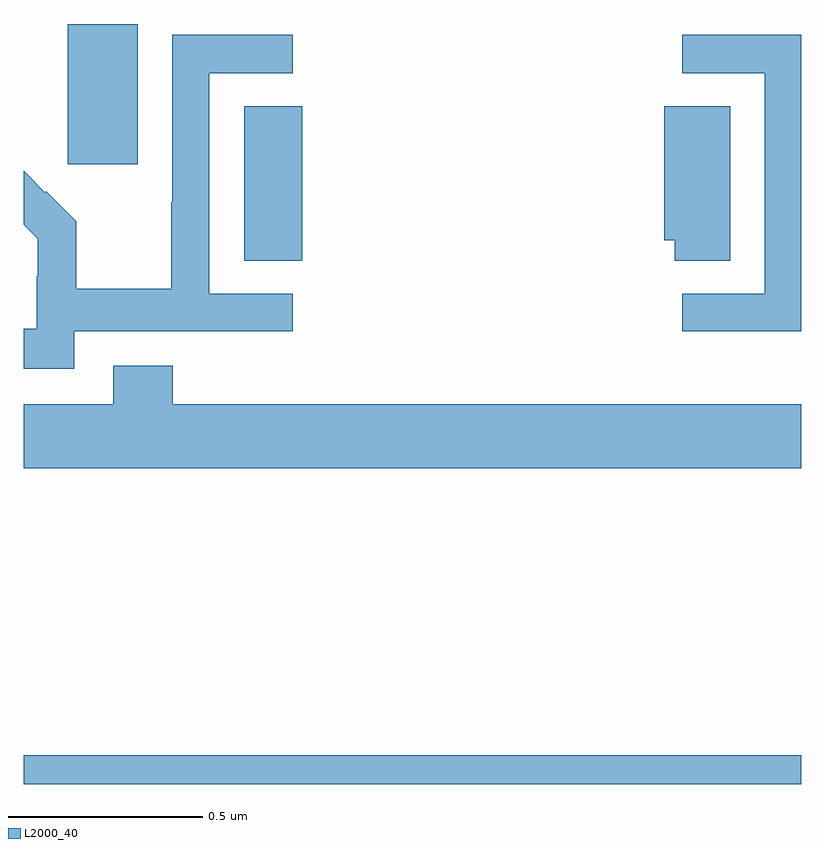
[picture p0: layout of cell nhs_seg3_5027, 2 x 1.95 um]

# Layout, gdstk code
import gdstk
lib = gdstk.Library(unit=1e-6, precision=1e-09)
def R(c, l, rs):  # rectangles x0, y0, x1, y1
    for r in rs: c.add(gdstk.rectangle(r[:2], r[2:], *l))
def P(c, l, *ps):  # polygons
    for p in ps: c.add(gdstk.Polygon(p, *l))
L2000_40 = (2000, 40)

nhs_seg3_5027 = lib.new_cell('nhs_seg3_5027')
R(nhs_seg3_5027, L2000_40, [(173,737.4,175,737.474), (173.567,738.745,173.717,739.142), (173.114,738.993,173.293,739.354)])
P(nhs_seg3_5027, L2000_40, [(175,739.326),(174.693,739.326),(174.693,739.227),(174.906,739.227),(174.906,738.66),(174.693,738.66),(174.693,738.564),(175,738.564)],
  [(173.13,738.564),(173.692,738.564),(173.692,738.66),(173.478,738.66),(173.478,739.227),(173.692,739.227),(173.692,739.326),(173.382,739.326),(173.382,738.896),(173.38,738.896),(173.38,738.673),(173.135,738.673),(173.135,738.847),(173.058,738.924),(173.055,738.921),(173,738.977),(173,738.838),(173.036,738.802),(173.036,738.705),(173.034,738.705),(173.034,738.571),(173,738.571),(173,738.467),(173.13,738.467)],
  [(174.817,739.142),(174.647,739.142),(174.647,738.798),(174.674,738.798),(174.674,738.745),(174.817,738.745)],
  [(175,738.376),(173.384,738.376),(173.384,738.475),(173.231,738.475),(173.231,738.376),(173,738.376),(173,738.212),(175,738.212)])

lib.write_gds('nhs_seg3_5027.gds')
